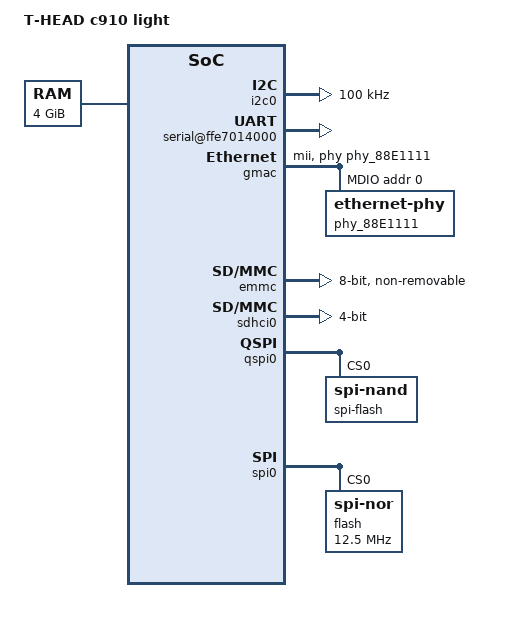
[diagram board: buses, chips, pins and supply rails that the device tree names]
/dts-v1/;
/ {
	model = "T-HEAD c910 light";
	compatible = "thead,c910_light";
	#address-cells = <2>;
	#size-cells = <2>;

	memory@0 {
		device_type = "memory";
		reg = <0x0 0x0 0x1 0x0>;
	};

	aliases {
		spi0 = &spi0;
		spi1 = &qspi0;
	};

	cpus {
		#address-cells = <1>;
		#size-cells = <0>;
		timebase-frequency = <3000000>;
		u-boot,dm-pre-reloc;
		cpu@0 {
			device_type = "cpu";
			reg = <0>;
			status = "okay";
			compatible = "riscv";
			riscv,isa = "rv64imafdcvsu";
			mmu-type = "riscv,sv39";
			u-boot,dm-pre-reloc;
		};
	};

	soc {
		#address-cells = <2>;
		#size-cells = <2>;
		compatible = "simple-bus";
		ranges;
		u-boot,dm-pre-reloc;

		dummy_apb: apb-clock {
			compatible = "fixed-clock";
			clock-frequency = <50000000>;
			clock-output-names = "dummy_apb";
			#clock-cells = <0>;
			u-boot,dm-pre-reloc;
		};

		dummy_ahb: ahb-clock {
			compatible = "fixed-clock";
			clock-frequency = <50000000>;
			clock-output-names = "core";
			#clock-cells = <0>;
			u-boot,dm-pre-reloc;
		};

		i2c0: i2c@ffe7f20000 {
			compatible = "snps,designware-i2c";
			reg = <0xff 0xe7f20000 0x0 0x4000>;
			clocks = <&dummy_apb>;
			clock-frequency = <100000>;

			#address-cells = <1>;
			#size-cells = <0>;
		};

		serial@ffe7014000 {
			compatible = "snps,dw-apb-uart";
			reg = <0xff 0xe7014000 0x0 0x400>;
			clocks = <&dummy_apb>;
			clock-frequency = <50000000>;
			clock-names = "baudclk";
			reg-shift = <2>;
			reg-io-width = <4>;
			u-boot,dm-pre-reloc;
		};

		gmac: ethernet@ffe7070000 {
			compatible = "snps,dwmac";
			reg = <0xff 0xe7070000 0x0 0x2000>;
			clocks = <&dummy_apb>;
			clock-names = "stmmaceth";
			snps,pbl = <32>;
			snps,fixed-burst;

			max-speed = <100>;
			phy-mode = "mii";
			phy-handle = <&phy_88E1111>;
			mdio0 {
				#address-cells = <1>;
				#size-cells = <0>;
				compatible = "snps,dwmac-mdio";

				phy_88E1111: ethernet-phy@0 {
					reg = <0x0 0x0>;
				};
			};
		};

		emmc: sdhci@ffe7080000 {
			compatible = "snps,dwcmshc-sdhci";
			reg = <0xff 0xe7080000 0x0 0x10000>;
			index = <0x0>;
			clocks = <&dummy_ahb>;
			clock-frequency = <50000000>;
			clock-names = "core";
			max-frequency = <20000000>;
			sdhci-caps-mask = <0x0 0x1000000>;
			non-removable;
			no-sdio;
			no-sd;
			bus-width = <8>;
			fifo-mode;
			u-boot,dm-pre-reloc;
		};

		sdhci0: sd@ffe7090000 {
			compatible = "snps,dwcmshc-sdhci";
			reg = <0xff 0xe7090000 0x0 0x10000>;
			index = <0x1>;
			clocks = <&dummy_ahb>;
			clock-frequency = <50000000>;
			max-frequency = <20000000>;
			//sd-uhs-sdr104 = "true";
			clock-names = "core";
			bus-width = <4>;
			voltage= "3.3v";
		};

		qspi0: spi@ffea000000 {
			compatible = "snps,dw-apb-ssi-quad";
			reg = <0xff 0xea000000 0x0 0x1000>;
			clocks = <&dummy_apb>;
			num-cs = <1>;
			cs-gpio = <&gpio2_porta 3 0>; // GPIO_ACTIVE_HIGH: 0
			spi-max-frequency = <3125000>;
			#address-cells = <1>;
			#size-cells =<0>;
			spi-flash@0 {
				#address-cells = <1>;
				#size-cells = <1>;
				compatible = "spi-nand";
				spi-tx-bus-width = <4>;
				spi-rx-bus-width = <4>;
				reg = <0>;
			};
		};

		spi0: spi@ffe700c000 {
			compatible = "snps,dw-apb-ssi";
			reg = <0xff 0xe700c000 0x0 0x1000>;
			clocks = <&dummy_apb>;
			cs-gpio = <&gpio2_porta 15 0>;
			spi-max-frequency = <12500000>;
			#address-cells = <1>;
			#size-cells = <0>;
			flash@0 {
				compatible = "jedec,spi-nor";
				reg = <0>;
				spi-max-frequency = <12500000>;
			};
		};

		gpio2: gpio@ffe7f34000 {
			compatible = "snps,dw-apb-gpio";
			reg = <0xff 0xe7f34000 0x0 0x1000>;
			clocks = <&dummy_apb>;
			#address-cells = <1>;
			#size-cells = <0>;
			gpio2_porta: gpio-controller@0 {
				compatible = "snps,dw-apb-gpio-port";
				gpio-controller;
				#gpio-cells = <2>;
				snps,nr-gpios = <32>;
				reg = <0>;
			};
		};
	};

	chosen {
		bootargs = "console=ttyS0,115200";
		stdout-path = "/soc/serial@ffe7014000:115200";
	};
};
